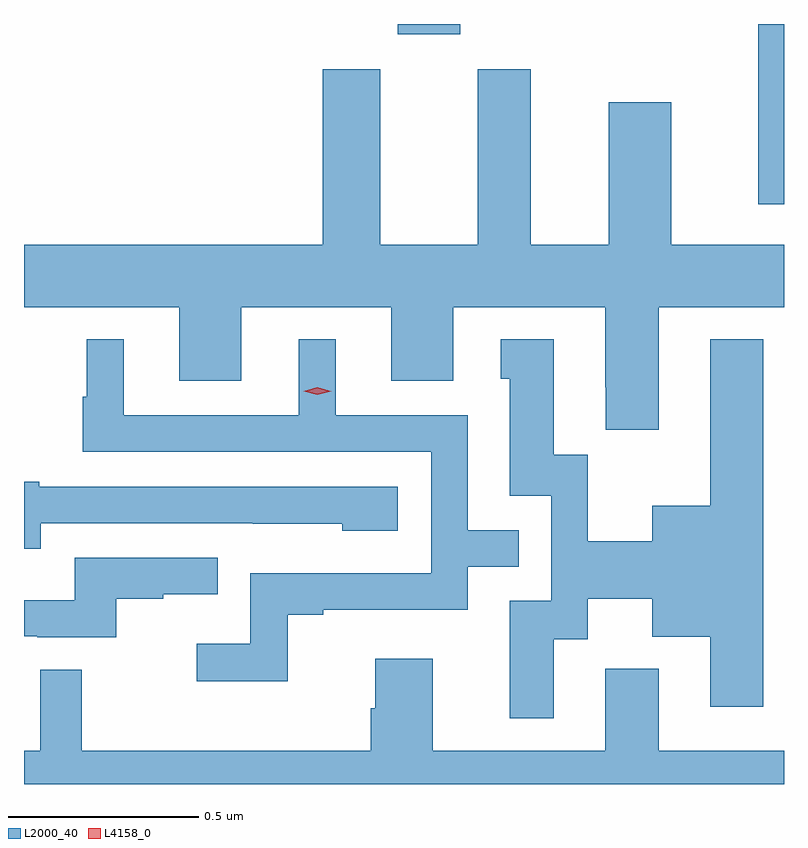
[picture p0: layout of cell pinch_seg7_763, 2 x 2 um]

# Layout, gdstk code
import gdstk
lib = gdstk.Library(unit=1e-6, precision=1e-09)
def R(c, l, rs):  # rectangles x0, y0, x1, y1
    for r in rs: c.add(gdstk.rectangle(r[:2], r[2:], *l))
def P(c, l, *ps):  # polygons
    for p in ps: c.add(gdstk.Polygon(p, *l))
L2000_40 = (2000, 40)
L4158_0 = (4158, 0)

pinch_seg7_763 = lib.new_cell('pinch_seg7_763')
R(pinch_seg7_763, L2000_40, [(309.257,1018.203,309.325,1018.677), (308.309,1018.65,308.473,1018.677)])
P(pinch_seg7_763, L2000_40, [(308.995,1017.932),(309.325,1017.932),(309.325,1018.096),(309.028,1018.096),(309.028,1018.471),(308.864,1018.471),(308.864,1018.096),(308.659,1018.096),(308.659,1018.558),(308.519,1018.558),(308.519,1018.096),(308.263,1018.096),(308.263,1018.558),(308.111,1018.558),(308.111,1018.096),(307.325,1018.096),(307.325,1017.932),(307.733,1017.932),(307.733,1017.738),(307.897,1017.738),(307.897,1017.932),(308.291,1017.932),(308.291,1017.738),(308.455,1017.738),(308.455,1017.932),(308.855,1017.932),(308.855,1017.721),(308.856,1017.721),(308.856,1017.609),(308.995,1017.609)],
  [(308.719,1017.058),(308.809,1017.058),(308.809,1017.164),(308.978,1017.164),(308.978,1017.065),(309.131,1017.065),(309.131,1016.88),(309.271,1016.88),(309.271,1017.847),(309.131,1017.847),(309.131,1017.409),(308.978,1017.409),(308.978,1017.316),(308.808,1017.316),(308.808,1017.543),(308.719,1017.543),(308.719,1017.847),(308.579,1017.847),(308.579,1017.744),(308.603,1017.744),(308.603,1017.435),(308.712,1017.435),(308.712,1017.159),(308.603,1017.159),(308.603,1016.85),(308.719,1016.85)],
  [(308.019,1017.123),(308.113,1017.123),(308.113,1017.135),(308.493,1017.135),(308.493,1017.249),(308.627,1017.249),(308.627,1017.345),(308.493,1017.345),(308.493,1017.648),(308.146,1017.648),(308.146,1017.847),(308.048,1017.847),(308.048,1017.648),(307.588,1017.648),(307.588,1017.847),(307.49,1017.847),(307.49,1017.696),(307.479,1017.696),(307.479,1017.552),(308.397,1017.552),(308.397,1017.231),(307.92,1017.231),(307.92,1017.046),(307.779,1017.046),(307.779,1016.948),(308.019,1016.948)],
  [(307.369,1017.363),(307.927,1017.363),(307.927,1017.362),(308.163,1017.362),(308.163,1017.344),(308.308,1017.344),(308.308,1017.459),(307.365,1017.459),(307.365,1017.472),(307.325,1017.472),(307.325,1017.296),(307.369,1017.296)],
  [(307.568,1017.165),(307.691,1017.165),(307.691,1017.176),(307.835,1017.176),(307.835,1017.273),(307.458,1017.273),(307.458,1017.161),(307.325,1017.161),(307.325,1017.066),(307.36,1017.066),(307.36,1017.063),(307.568,1017.063)],
  [(308.855,1016.764),(308.401,1016.764),(308.401,1017.007),(308.249,1017.007),(308.249,1016.877),(308.237,1016.877),(308.237,1016.764),(307.477,1016.764),(307.477,1016.978),(307.368,1016.978),(307.368,1016.764),(307.325,1016.764),(307.325,1016.677),(309.325,1016.677),(309.325,1016.764),(308.995,1016.764),(308.995,1016.98),(308.855,1016.98)])
P(pinch_seg7_763, L4158_0, [(308.097,1017.701),(308.061,1017.711),(308.061,1017.711),(308.061,1017.711),(308.097,1017.721),(308.133,1017.711),(308.133,1017.711),(308.133,1017.711)])

lib.write_gds('pinch_seg7_763.gds')
